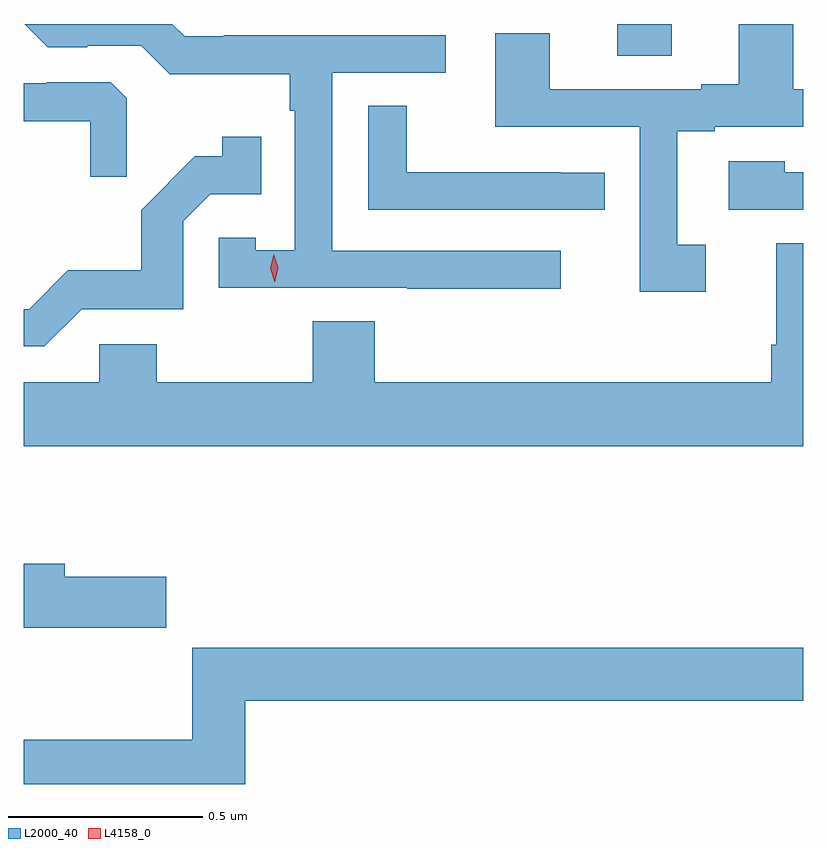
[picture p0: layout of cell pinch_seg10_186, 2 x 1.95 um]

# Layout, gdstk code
import gdstk
lib = gdstk.Library(unit=1e-6, precision=1e-09)
def R(c, l, rs):  # rectangles x0, y0, x1, y1
    for r in rs: c.add(gdstk.rectangle(r[:2], r[2:], *l))
def P(c, l, *ps):  # polygons
    for p in ps: c.add(gdstk.Polygon(p, *l))
L2000_40 = (2000, 40)
L4158_0 = (4158, 0)

pinch_seg10_186 = lib.new_cell('pinch_seg10_186')
R(pinch_seg10_186, L2000_40, [(737.651,1265.353,737.791,1265.435)])
P(pinch_seg10_186, L2000_40, [(737.506,1264.854),(736.92,1264.854),(736.92,1265.31),(737.212,1265.31),(737.212,1265.406),(736.642,1265.406),(736.642,1265.403),(736.542,1265.403),(736.51,1265.435),(736.132,1265.435),(736.191,1265.376),(736.292,1265.376),(736.292,1265.379),(736.431,1265.379),(736.504,1265.306),(736.812,1265.306),(736.812,1265.213),(736.824,1265.213),(736.824,1264.855),(736.725,1264.855),(736.725,1264.887),(736.629,1264.887),(736.629,1264.758),(737.113,1264.758),(737.113,1264.756),(737.506,1264.756)],
  [(737.878,1264.869),(737.806,1264.869),(737.806,1265.16),(737.902,1265.16),(737.902,1265.172),(738.129,1265.172),(738.129,1265.268),(738.103,1265.268),(738.103,1265.435),(737.963,1265.435),(737.963,1265.281),(737.867,1265.281),(737.867,1265.268),(737.479,1265.268),(737.479,1265.411),(737.339,1265.411),(737.339,1265.172),(737.709,1265.172),(737.709,1264.749),(737.878,1264.749)],
  [(736.394,1265.245),(736.353,1265.286),(736.188,1265.286),(736.188,1265.283),(736.129,1265.283),(736.129,1265.186),(736.3,1265.186),(736.3,1265.043),(736.394,1265.043)],
  [(737.62,1265.054),(737.507,1265.054),(737.507,1265.055),(737.112,1265.055),(737.112,1265.225),(737.013,1265.225),(737.013,1264.959),(737.62,1264.959)],
  [(736.278,1264.704),(736.539,1264.704),(736.539,1264.929),(736.608,1264.998),(736.739,1264.998),(736.739,1265.146),(736.638,1265.146),(736.638,1265.096),(736.568,1265.096),(736.431,1264.958),(736.431,1264.803),(736.242,1264.803),(736.143,1264.704),(736.129,1264.704),(736.129,1264.608),(736.182,1264.608)],
  [(738.129,1265.055),(738.081,1265.055),(738.081,1265.083),(737.937,1265.083),(737.937,1264.959),(738.129,1264.959)],
  [(738.129,1264.873),(738.059,1264.873),(738.059,1264.612),(738.047,1264.612),(738.047,1264.516),(737.03,1264.516),(737.03,1264.673),(736.87,1264.673),(736.87,1264.516),(736.47,1264.516),(736.47,1264.614),(736.323,1264.614),(736.323,1264.516),(736.129,1264.516),(736.129,1264.352),(738.129,1264.352)],
  [(736.495,1264.017),(736.234,1264.017),(736.234,1264.051),(736.129,1264.051),(736.129,1263.887),(736.495,1263.887)],
  [(736.697,1263.7),(738.129,1263.7),(738.129,1263.836),(736.561,1263.836),(736.561,1263.599),(736.129,1263.599),(736.129,1263.486),(736.697,1263.486)])
P(pinch_seg10_186, L4158_0, [(736.773,1264.773),(736.773,1264.773),(736.762,1264.809),(736.77,1264.845),(736.77,1264.845),(736.77,1264.845),(736.782,1264.81),(736.773,1264.773)])

lib.write_gds('pinch_seg10_186.gds')
